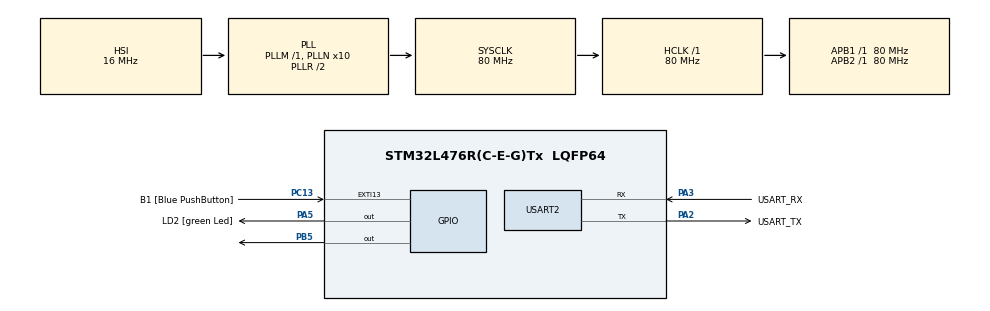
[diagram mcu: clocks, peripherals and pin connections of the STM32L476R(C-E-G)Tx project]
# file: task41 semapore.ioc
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FREERTOS.BinarySemaphores01=srtartDHTdataReading,Dynamic,NULL;startDataPrinting,Dynamic,NULL
FREERTOS.Tasks01=defaultTask,24,128,StartDefaultTask,Default,NULL,Dynamic,NULL,NULL;DhtTask,24,128,Entry_DhtTask,As external,NULL,Dynamic,NULL,NULL;delayTask,24,128,Entry_delayTask,As external,NULL,Dynamic,NULL,NULL;printTask,24,256,Entry_printTask,As external,NULL,Dynamic,NULL,NULL;blinkTask,24,128,Entry_blinkTask,As external,&ledB,Dynamic,NULL,NULL
FREERTOS.configTOTAL_HEAP_SIZE=5000
Mcu.Family=STM32L4
Mcu.Name=STM32L476R(C-E-G)Tx
Mcu.Package=LQFP64
NVIC.PriorityGroup=NVIC_PRIORITYGROUP_4
NVIC.TIM1_UP_TIM16_IRQn=true\:15\:0\:false\:false\:true\:false\:false\:true\:true
NVIC.TimeBase=TIM1_UP_TIM16_IRQn
NVIC.TimeBaseIP=TIM16
PA13\ (JTMS-SWDIO).GPIO_Label=TMS
PA13\ (JTMS-SWDIO).Mode=Serial_Wire
PA13\ (JTMS-SWDIO).Signal=SYS_JTMS-SWDIO
PA14\ (JTCK-SWCLK).GPIO_Label=TCK
PA14\ (JTCK-SWCLK).Mode=Serial_Wire
PA14\ (JTCK-SWCLK).Signal=SYS_JTCK-SWCLK
PA2.GPIO_Label=USART_TX
PA2.GPIO_Mode=GPIO_MODE_AF_PP
PA2.GPIO_PuPd=GPIO_NOPULL
PA2.GPIO_Speed=GPIO_SPEED_FREQ_VERY_HIGH
PA2.Mode=Asynchronous
PA2.Signal=USART2_TX
PA3.GPIO_Label=USART_RX
PA3.GPIO_Mode=GPIO_MODE_AF_PP
PA3.GPIO_PuPd=GPIO_NOPULL
PA3.GPIO_Speed=GPIO_SPEED_FREQ_VERY_HIGH
PA3.Mode=Asynchronous
PA3.Signal=USART2_RX
PA5.GPIO_Label=LD2 [green Led]
PA5.GPIO_ModeDefaultOutputPP=GPIO_MODE_OUTPUT_PP
PA5.GPIO_PuPd=GPIO_NOPULL
PA5.GPIO_Speed=GPIO_SPEED_FREQ_LOW
PA5.Signal=GPIO_Output
PB3\ (JTDO-TRACESWO).GPIO_Label=SWO
PB3\ (JTDO-TRACESWO).Signal=SYS_JTDO-SWO
PB5.Signal=GPIO_Output
PC13.GPIO_Label=B1 [Blue PushButton]
PC13.GPIO_ModeDefaultEXTI=GPIO_MODE_IT_FALLING
PC13.GPIO_PuPd=GPIO_NOPULL
PC13.Signal=GPXTI13
PC14-OSC32_IN\ (PC14).Mode=LSE-External-Oscillator
PC14-OSC32_IN\ (PC14).Signal=RCC_OSC32_IN
PC15-OSC32_OUT\ (PC15).Mode=LSE-External-Oscillator
PC15-OSC32_OUT\ (PC15).Signal=RCC_OSC32_OUT
PH0-OSC_IN\ (PH0).Signal=RCC_OSC_IN
PH1-OSC_OUT\ (PH1).Signal=RCC_OSC_OUT
ProjectManager.HeapSize=0x200
ProjectManager.StackSize=0x400
ProjectManager.TargetToolchain=STM32CubeIDE
RCC.ADCFreq_Value=64000000
RCC.AHBFreq_Value=80000000
RCC.APB1Freq_Value=80000000
RCC.APB1TimFreq_Value=80000000
RCC.APB2Freq_Value=80000000
RCC.APB2TimFreq_Value=80000000
RCC.CortexFreq_Value=80000000
RCC.HCLKFreq_Value=80000000
RCC.HSE_VALUE=8000000
RCC.HSI_VALUE=16000000
RCC.MSI_VALUE=4000000
RCC.PLLN=10
RCC.PLLSourceVirtual=RCC_PLLSOURCE_HSI
RCC.PREFETCH_ENABLE=1
RCC.SYSCLKFreq_VALUE=80000000
RCC.SYSCLKSource=RCC_SYSCLKSOURCE_PLLCLK
RCC.USBFreq_Value=64000000
RCC.VCOOutputFreq_Value=160000000
TIM7.Prescaler=80
USART2.VirtualMode-Asynchronous=VM_ASYNC
VP_FREERTOS_VS_CMSIS_V2.Mode=CMSIS_V2
VP_SYS_VS_tim16.Mode=TIM16
VP_TIM7_VS_ClockSourceINT.Mode=Enable_Timer
board=NUCLEO-L476RG

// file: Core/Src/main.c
/* USER CODE BEGIN Header */
/**
  ******************************************************************************
  * @file           : main.c
  * @brief          : Main program body
  ******************************************************************************
  * @attention
  *
  * Copyright (c) 2022 STMicroelectronics.
  * All rights reserved.
  *
  * This software is licensed under terms that can be found in the LICENSE file
  * in the root directory of this software component.
  * If no LICENSE file comes with this software, it is provided AS-IS.
  *
  ******************************************************************************
  */
/* USER CODE END Header */
#include "main.h"
#include "cmsis_os.h"

/* USER CODE BEGIN Includes */
#include "Dht.h"
#include <stdio.h>
#include "Led.h"
/* USER CODE END Includes */

/* USER CODE BEGIN PTD */
Dht dht;
Led ledB;
extern double temperature;
extern double humidity;
/* USER CODE END PTD */

 TIM_HandleTypeDef htim7;

UART_HandleTypeDef huart2;

/* Definitions for defaultTask */
osThreadId_t defaultTaskHandle;
const osThreadAttr_t defaultTask_attributes = {
  .name = "defaultTask",
  .stack_size = 128 * 4,
  .priority = (osPriority_t) osPriorityNormal,
};
/* Definitions for DhtTask */
osThreadId_t DhtTaskHandle;
const osThreadAttr_t DhtTask_attributes = {
  .name = "DhtTask",
  .stack_size = 128 * 4,
  .priority = (osPriority_t) osPriorityNormal,
};
/* Definitions for delayTask */
osThreadId_t delayTaskHandle;
const osThreadAttr_t delayTask_attributes = {
  .name = "delayTask",
  .stack_size = 128 * 4,
  .priority = (osPriority_t) osPriorityNormal,
};
/* Definitions for printTask */
osThreadId_t printTaskHandle;
const osThreadAttr_t printTask_attributes = {
  .name = "printTask",
  .stack_size = 256 * 4,
  .priority = (osPriority_t) osPriorityNormal,
};
/* Definitions for blinkTask */
osThreadId_t blinkTaskHandle;
const osThreadAttr_t blinkTask_attributes = {
  .name = "blinkTask",
  .stack_size = 128 * 4,
  .priority = (osPriority_t) osPriorityNormal,
};
/* Definitions for srtartDHTdataReading */
osSemaphoreId_t srtartDHTdataReadingHandle;
const osSemaphoreAttr_t srtartDHTdataReading_attributes = {
  .name = "srtartDHTdataReading"
};
/* Definitions for startDataPrinting */
osSemaphoreId_t startDataPrintingHandle;
const osSemaphoreAttr_t startDataPrinting_attributes = {
  .name = "startDataPrinting"
};

void SystemClock_Config(void);
static void MX_GPIO_Init(void);
static void MX_USART2_UART_Init(void);
static void MX_TIM7_Init(void);
void StartDefaultTask(void *argument);
extern void Entry_DhtTask(void *argument);
extern void Entry_delayTask(void *argument);
extern void Entry_printTask(void *argument);
extern void Entry_blinkTask(void *argument);

/* USER CODE BEGIN 0 */

////////////////////////////////////////////////////////////////////////
int _write(int fd, char* ptr, int len)
{
	HAL_UART_Transmit(&huart2, (uint8_t*)ptr, len, HAL_MAX_DELAY);
	return len;
}
//////////////////////////////////////////////////////////////////////

void Entry_delayTask(void *argument)
{
  /* USER CODE BEGIN Entry_delayTask */
  /* Infinite loop */
  for(;;){
    osDelay(1500);
    osSemaphoreRelease(srtartDHTdataReadingHandle);
  }
  /* USER CODE END Entry_delayTask */
}

//////////////////////////////////////////////////////////////
void Entry_printTask(void *argument)
{
  /* USER CODE BEGIN Entry_printTask */
  /* Infinite loop */
  for(;;){
	osSemaphoreAcquire(startDataPrintingHandle, osWaitForever);
	printf("temperature =%4.1f , humidity=%4.1f \r\n", Dht_getTempperature(&dht), Dht_getHumidty(&dht));
	osDelay(1);
  }
  /* USER CODE END Entry_printTask */
}
////////////////////////////////////////////////////////////

/* USER CODE END 0 */

int main(void)
{
  /* USER CODE BEGIN 1 */
	Dht_init(&dht, GPIOB, GPIO_PIN_5, &htim7);
	Led_init(&ledB , LD2_GPIO_Port , LD2_Pin );
  /* USER CODE END 1 */

  /* MCU Configuration--------------------------------------------------------*/

  /* Reset of all peripherals, Initializes the Flash interface and the Systick. */
  HAL_Init();

  /* Configure the system clock */
  SystemClock_Config();

  /* Initialize all configured peripherals */
  MX_GPIO_Init();
  MX_USART2_UART_Init();
  MX_TIM7_Init();

  /* Init scheduler */
  osKernelInitialize();

  /* Create the semaphores(s) */
  /* creation of srtartDHTdataReading */
  srtartDHTdataReadingHandle = osSemaphoreNew(1, 1, &srtartDHTdataReading_attributes);

  /* creation of startDataPrinting */
  startDataPrintingHandle = osSemaphoreNew(1, 1, &startDataPrinting_attributes);

  /* Create the thread(s) */
  /* creation of defaultTask */
  defaultTaskHandle = osThreadNew(StartDefaultTask, NULL, &defaultTask_attributes);

  /* creation of DhtTask */
  DhtTaskHandle = osThreadNew(Entry_DhtTask, NULL, &DhtTask_attributes);

  /* creation of delayTask */
  delayTaskHandle = osThreadNew(Entry_delayTask, NULL, &delayTask_attributes);

  /* creation of printTask */
  printTaskHandle = osThreadNew(Entry_printTask, NULL, &printTask_attributes);

  /* creation of blinkTask */
  blinkTaskHandle = osThreadNew(Entry_blinkTask, (void*) &ledB, &blinkTask_attributes);

  /* Start scheduler */
  osKernelStart();

  /* We should never get here as control is now taken by the scheduler */
  /* Infinite loop */
  while (1)
  {

  }
}

void SystemClock_Config(void)
{
  RCC_OscInitTypeDef RCC_OscInitStruct = {0};
  RCC_ClkInitTypeDef RCC_ClkInitStruct = {0};

  /** Configure the main internal regulator output voltage
  */
  if (HAL_PWREx_ControlVoltageScaling(PWR_REGULATOR_VOLTAGE_SCALE1) != HAL_OK)
  {
    Error_Handler();
  }

  /** Initializes the RCC Oscillators according to the specified parameters
  * in the RCC_OscInitTypeDef structure.
  */
  RCC_OscInitStruct.OscillatorType = RCC_OSCILLATORTYPE_HSI;
  RCC_OscInitStruct.HSIState = RCC_HSI_ON;
  RCC_OscInitStruct.HSICalibrationValue = RCC_HSICALIBRATION_DEFAULT;
  RCC_OscInitStruct.PLL.PLLState = RCC_PLL_ON;
  RCC_OscInitStruct.PLL.PLLSource = RCC_PLLSOURCE_HSI;
  RCC_OscInitStruct.PLL.PLLM = 1;
  RCC_OscInitStruct.PLL.PLLN = 10;
  RCC_OscInitStruct.PLL.PLLP = RCC_PLLP_DIV7;
  RCC_OscInitStruct.PLL.PLLQ = RCC_PLLQ_DIV2;
  RCC_OscInitStruct.PLL.PLLR = RCC_PLLR_DIV2;
  if (HAL_RCC_OscConfig(&RCC_OscInitStruct) != HAL_OK)
  {
    Error_Handler();
  }

  /** Initializes the CPU, AHB and APB buses clocks
  */
  RCC_ClkInitStruct.ClockType = RCC_CLOCKTYPE_HCLK|RCC_CLOCKTYPE_SYSCLK
                              |RCC_CLOCKTYPE_PCLK1|RCC_CLOCKTYPE_PCLK2;
  RCC_ClkInitStruct.SYSCLKSource = RCC_SYSCLKSOURCE_PLLCLK;
  RCC_ClkInitStruct.AHBCLKDivider = RCC_SYSCLK_DIV1;
  RCC_ClkInitStruct.APB1CLKDivider = RCC_HCLK_DIV1;
  RCC_ClkInitStruct.APB2CLKDivider = RCC_HCLK_DIV1;

  if (HAL_RCC_ClockConfig(&RCC_ClkInitStruct, FLASH_LATENCY_4) != HAL_OK)
  {
    Error_Handler();
  }
}

static void MX_TIM7_Init(void)
{

  TIM_MasterConfigTypeDef sMasterConfig = {0};

  htim7.Instance = TIM7;
  htim7.Init.Prescaler = 80;
  htim7.Init.CounterMode = TIM_COUNTERMODE_UP;
  htim7.Init.Period = 65535;
  htim7.Init.AutoReloadPreload = TIM_AUTORELOAD_PRELOAD_DISABLE;
  if (HAL_TIM_Base_Init(&htim7) != HAL_OK)
  {
    Error_Handler();
  }
  sMasterConfig.MasterOutputTrigger = TIM_TRGO_RESET;
  sMasterConfig.MasterSlaveMode = TIM_MASTERSLAVEMODE_DISABLE;
  if (HAL_TIMEx_MasterConfigSynchronization(&htim7, &sMasterConfig) != HAL_OK)
  {
    Error_Handler();
  }

}

static void MX_USART2_UART_Init(void)
{

  huart2.Instance = USART2;
  huart2.Init.BaudRate = 115200;
  huart2.Init.WordLength = UART_WORDLENGTH_8B;
  huart2.Init.StopBits = UART_STOPBITS_1;
  huart2.Init.Parity = UART_PARITY_NONE;
  huart2.Init.Mode = UART_MODE_TX_RX;
  huart2.Init.HwFlowCtl = UART_HWCONTROL_NONE;
  huart2.Init.OverSampling = UART_OVERSAMPLING_16;
  huart2.Init.OneBitSampling = UART_ONE_BIT_SAMPLE_DISABLE;
  huart2.AdvancedInit.AdvFeatureInit = UART_ADVFEATURE_NO_INIT;
  if (HAL_UART_Init(&huart2) != HAL_OK)
  {
    Error_Handler();
  }

}

static void MX_GPIO_Init(void)
{
  GPIO_InitTypeDef GPIO_InitStruct = {0};

  /* GPIO Ports Clock Enable */
  __HAL_RCC_GPIOC_CLK_ENABLE();
  __HAL_RCC_GPIOH_CLK_ENABLE();
  __HAL_RCC_GPIOA_CLK_ENABLE();
  __HAL_RCC_GPIOB_CLK_ENABLE();

  /*Configure GPIO pin Output Level */
  HAL_GPIO_WritePin(LD2_GPIO_Port, LD2_Pin, GPIO_PIN_RESET);

  /*Configure GPIO pin Output Level */
  HAL_GPIO_WritePin(GPIOB, GPIO_PIN_5, GPIO_PIN_RESET);

  /*Configure GPIO pin : B1_Pin */
  GPIO_InitStruct.Pin = B1_Pin;
  GPIO_InitStruct.Mode = GPIO_MODE_IT_FALLING;
  GPIO_InitStruct.Pull = GPIO_NOPULL;
  HAL_GPIO_Init(B1_GPIO_Port, &GPIO_InitStruct);

  /*Configure GPIO pin : LD2_Pin */
  GPIO_InitStruct.Pin = LD2_Pin;
  GPIO_InitStruct.Mode = GPIO_MODE_OUTPUT_PP;
  GPIO_InitStruct.Pull = GPIO_NOPULL;
  GPIO_InitStruct.Speed = GPIO_SPEED_FREQ_LOW;
  HAL_GPIO_Init(LD2_GPIO_Port, &GPIO_InitStruct);

  /*Configure GPIO pin : PB5 */
  GPIO_InitStruct.Pin = GPIO_PIN_5;
  GPIO_InitStruct.Mode = GPIO_MODE_OUTPUT_PP;
  GPIO_InitStruct.Pull = GPIO_NOPULL;
  GPIO_InitStruct.Speed = GPIO_SPEED_FREQ_LOW;
  HAL_GPIO_Init(GPIOB, &GPIO_InitStruct);

}

void StartDefaultTask(void *argument)
{
  for(;;)
  {
    osDelay(1);
  }
}

void HAL_TIM_PeriodElapsedCallback(TIM_HandleTypeDef *htim)
{
  if (htim->Instance == TIM16) {
    HAL_IncTick();
  }
}

void Error_Handler(void)
{
  __disable_irq();
  while (1)
  {
  }
}
